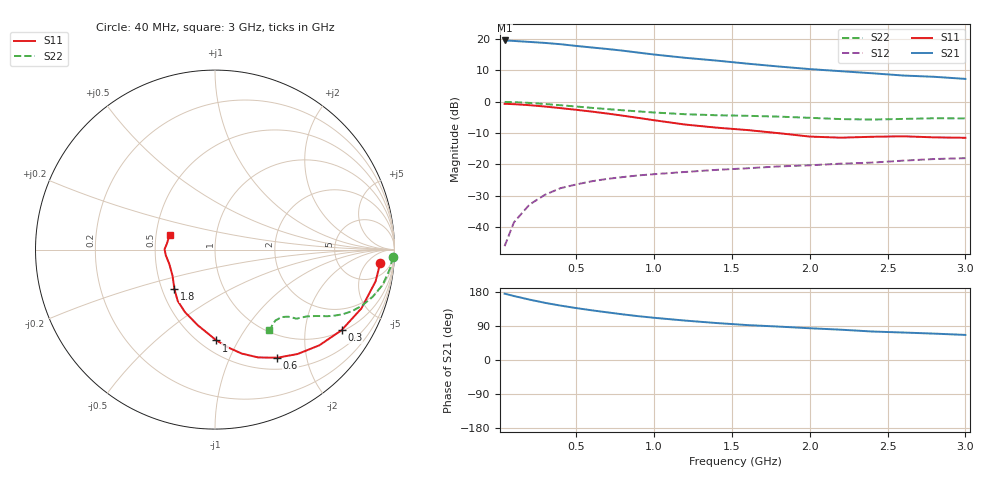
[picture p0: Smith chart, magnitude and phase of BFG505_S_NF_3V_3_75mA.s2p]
! Filename:  BFG505D.S2P  Version:  3.0
! Philips part #: BFG505  Date: Feb 1992
! Bias condition: Vce=3V, Ic=3.75mA
! IN LINE PINNING: same data as with cross emitter pinning.
#  MHz  S  MA  R  50
! Freq  S11  S21  S12  S22  !GUM [dB]
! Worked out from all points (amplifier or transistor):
!   21 points, 40 MHz to 3 GHz, reference 50 ohm
!   highest |S21| = 19.5 dB at 40 MHz (marker M1)
!   |S21| within 3 dB of that: start of sweep to 751.9 MHz
!   unconditionally stable (mu >= 1): 1.947 GHz to end of sweep
!   at 300 MHz: K = 0.21, MSG = 24.2 dB, |S12| = -29.6 dB
!   at 1 GHz: K = 0.61, MSG = 19.1 dB, |S12| = -23.1 dB
!   at 3 GHz: K = 1.14, MAG = 10.4 dB, |S12| = -18.0 dB
!   lowest NFmin = 1.40 dB at 900 MHz
!   S11 on the Smith chart (normalised r, x): 40 MHz: 13, -13; 300 MHz: 1.04, -3.11; 600 MHz: 0.65, -1.53; 1 GHz: 0.60, -0.82; 1.8 GHz: 0.58, -0.28; 3 GHz: 0.59, +0.10
40  0.924 -4.5  9.431 175.1  0.005 86.0  0.99 -2.4
100  0.912 -11.2  9.265 168.8  0.012 82.7  0.982 -6.0
200  0.879 -21.9  8.937 159.4  0.023 76.7  0.955 -11.8
300  0.836 -32.5  8.617 150.8  0.033 71.2  0.917 -16.7
400  0.789 -42.5  8.214 143.5  0.042 66.3  0.877 -20.8
500  0.742 -51.6  7.716 137.0  0.048 62.4  0.837 -24.2
600  0.695 -60.1  7.289 131.1  0.054 59.9  0.797 -26.9
700  0.647 -68.2  6.897 125.7  0.059 57.6  0.761 -28.9
800  0.598 -75.6  6.479 120.4  0.063 56.1  0.729 -30.6
900  0.551 -82.2  6.039 115.6  0.067 54.6  0.699 -32.0
1000  0.506 -89.1  5.633 111.4  0.07 53.9  0.672 -33.4
1200  0.432 -102.9  4.992 104.0  0.076 53.0  0.631 -36.2
1400  0.386 -115.8  4.511 97.6  0.082 52.3  0.608 -38.7
1600  0.353 -126.1  4.029 92.1  0.087 53.1  0.595 -40.3
1800  0.315 -136.0  3.63 88.2  0.093 54.0  0.578 -41.1
2000  0.278 -148.2  3.3 83.8  0.097 54.0  0.553 -42.5
2200  0.267 -162.5  3.055 80.0  0.103 54.0  0.528 -45.4
2400  0.276 -173.4  2.834 75.2  0.107 54.7  0.519 -49.6
2600  0.281 179.6  2.608 72.5  0.115 55.8  0.531 -53.5
2800  0.27 172.9  2.488 69.6  0.122 56.2  0.544 -55.3
3000  0.266 162.0  2.305 66.2  0.126 57.0  0.541 -56.0
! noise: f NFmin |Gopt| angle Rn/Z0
900  1.4  0.563  17  0.62
2000  2  0.433  46  0.48
